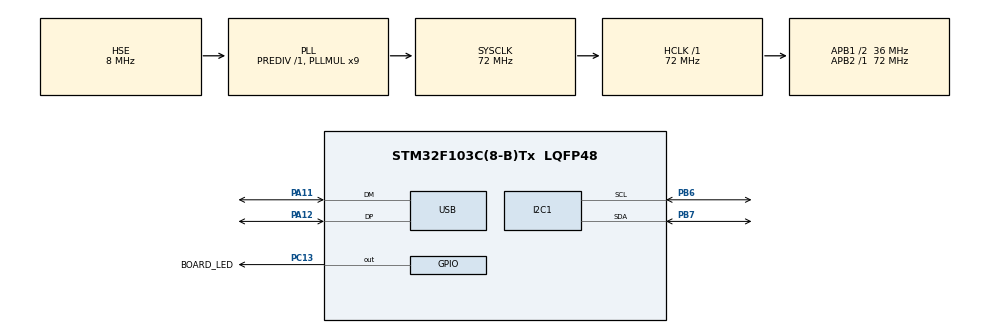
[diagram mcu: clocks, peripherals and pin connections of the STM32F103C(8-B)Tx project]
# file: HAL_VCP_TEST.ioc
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Mcu.Family=STM32F1
Mcu.Name=STM32F103C(8-B)Tx
Mcu.Package=LQFP48
NVIC.PriorityGroup=NVIC_PRIORITYGROUP_4
NVIC.USB_LP_CAN1_RX0_IRQn=true\:0\:0\:false\:false\:true\:false\:true\:true
PA11.Mode=Device
PA11.Signal=USB_DM
PA12.Mode=Device
PA12.Signal=USB_DP
PA13.Mode=Trace_Asynchronous_SW
PA13.Signal=SYS_JTMS-SWDIO
PA14.Mode=Trace_Asynchronous_SW
PA14.Signal=SYS_JTCK-SWCLK
PB3.Mode=Trace_Asynchronous_SW
PB3.Signal=SYS_JTDO-TRACESWO
PB6.Mode=I2C
PB6.Signal=I2C1_SCL
PB7.Mode=I2C
PB7.Signal=I2C1_SDA
PC13-TAMPER-RTC.GPIO_Label=BOARD_LED
PC13-TAMPER-RTC.PinState=GPIO_PIN_SET
PC13-TAMPER-RTC.Signal=GPIO_Output
PD0-OSC_IN.Mode=HSE-External-Oscillator
PD0-OSC_IN.Signal=RCC_OSC_IN
PD1-OSC_OUT.Mode=HSE-External-Oscillator
PD1-OSC_OUT.Signal=RCC_OSC_OUT
ProjectManager.HeapSize=0x100
ProjectManager.StackSize=0x400
ProjectManager.TargetToolchain=STM32CubeIDE
RCC.AHBFreq_Value=72000000
RCC.APB1CLKDivider=RCC_HCLK_DIV2
RCC.APB1Freq_Value=36000000
RCC.APB1TimFreq_Value=72000000
RCC.APB2Freq_Value=72000000
RCC.APB2TimFreq_Value=72000000
RCC.HCLKFreq_Value=72000000
RCC.PLLMUL=RCC_PLL_MUL9
RCC.SYSCLKFreq_VALUE=72000000
RCC.SYSCLKSource=RCC_SYSCLKSOURCE_PLLCLK
RCC.USBFreq_Value=48000000
RCC.USBPrescaler=RCC_USBCLKSOURCE_PLL_DIV1_5
USB_DEVICE.CLASS_NAME_FS=CDC
USB_DEVICE.PRODUCT_STRING_CDC_FS=DataCube Virtual ComPort
USB_DEVICE.VirtualMode=Cdc
USB_DEVICE.VirtualModeFS=Cdc_FS
VP_USB_DEVICE_VS_USB_DEVICE_CDC_FS.Mode=CDC_FS
board=custom

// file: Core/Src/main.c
/* USER CODE BEGIN Header */
/**
 ******************************************************************************
 * @file           : main.c
 * @brief          : Main program body
 ******************************************************************************
 * @attention
 *
 * Copyright (c) 2023 STMicroelectronics.
 * All rights reserved.
 *
 * This software is licensed under terms that can be found in the LICENSE file
 * in the root directory of this software component.
 * If no LICENSE file comes with this software, it is provided AS-IS.
 *
 ******************************************************************************
 */
/* USER CODE END Header */
#include "main.h"
#include "usb_device.h"

/* USER CODE BEGIN Includes */

#include "usb_device.h"
#include "LCD_I2C.h"
/* USER CODE END Includes */

/* USER CODE BEGIN PD */
void UsbReceiveData(uint8_t *Buf, uint16_t Len);
/* USER CODE END PD */

I2C_HandleTypeDef hi2c1;

void SystemClock_Config(void);
static void MX_GPIO_Init(void);
static void MX_I2C1_Init(void);

int main(void)
{

  /* MCU Configuration--------------------------------------------------------*/

  /* Reset of all peripherals, Initializes the Flash interface and the Systick. */
  HAL_Init();

  /* Configure the system clock */
  SystemClock_Config();

  /* Initialize all configured peripherals */
  MX_GPIO_Init();
  MX_USB_DEVICE_Init();
  MX_I2C1_Init();
  /* USER CODE BEGIN 2 */

	RegisterCallback(UsbReceiveData);
	uint8_t msgBuff[] = "USB Initialized\n\r";
	Send_USB_Data(msgBuff, sizeof(msgBuff));

	LCD_I2C = new_LCD_I2C_Struct(0x23, 3, POSITIVE);
	LCD_I2C_begin(LCD_I2C, 20, 4);

	LCD_I2C_clear(LCD_I2C);
	LCD_I2C_printStr(LCD_I2C, "Hello USB");

//	LCD_I2C_Struct *LCD_I2C1 = new_LCD_I2C_Struct(0x27, 3, POSITIVE);
//	LCD_I2C_begin(LCD_I2C1, 16, 2);
//
//	LCD_I2C_clear(LCD_I2C1);
//	LCD_I2C_print(LCD_I2C1, 'X');
  /* USER CODE END 2 */

  /* Infinite loop */
	while (1) {

	}
}

void SystemClock_Config(void)
{
  RCC_OscInitTypeDef RCC_OscInitStruct = {0};
  RCC_ClkInitTypeDef RCC_ClkInitStruct = {0};
  RCC_PeriphCLKInitTypeDef PeriphClkInit = {0};

  /** Initializes the RCC Oscillators according to the specified parameters
  * in the RCC_OscInitTypeDef structure.
  */
  RCC_OscInitStruct.OscillatorType = RCC_OSCILLATORTYPE_HSE;
  RCC_OscInitStruct.HSEState = RCC_HSE_ON;
  RCC_OscInitStruct.HSEPredivValue = RCC_HSE_PREDIV_DIV1;
  RCC_OscInitStruct.HSIState = RCC_HSI_ON;
  RCC_OscInitStruct.PLL.PLLState = RCC_PLL_ON;
  RCC_OscInitStruct.PLL.PLLSource = RCC_PLLSOURCE_HSE;
  RCC_OscInitStruct.PLL.PLLMUL = RCC_PLL_MUL9;
  if (HAL_RCC_OscConfig(&RCC_OscInitStruct) != HAL_OK)
  {
    Error_Handler();
  }

  /** Initializes the CPU, AHB and APB buses clocks
  */
  RCC_ClkInitStruct.ClockType = RCC_CLOCKTYPE_HCLK|RCC_CLOCKTYPE_SYSCLK
                              |RCC_CLOCKTYPE_PCLK1|RCC_CLOCKTYPE_PCLK2;
  RCC_ClkInitStruct.SYSCLKSource = RCC_SYSCLKSOURCE_PLLCLK;
  RCC_ClkInitStruct.AHBCLKDivider = RCC_SYSCLK_DIV1;
  RCC_ClkInitStruct.APB1CLKDivider = RCC_HCLK_DIV2;
  RCC_ClkInitStruct.APB2CLKDivider = RCC_HCLK_DIV1;

  if (HAL_RCC_ClockConfig(&RCC_ClkInitStruct, FLASH_LATENCY_2) != HAL_OK)
  {
    Error_Handler();
  }
  PeriphClkInit.PeriphClockSelection = RCC_PERIPHCLK_USB;
  PeriphClkInit.UsbClockSelection = RCC_USBCLKSOURCE_PLL_DIV1_5;
  if (HAL_RCCEx_PeriphCLKConfig(&PeriphClkInit) != HAL_OK)
  {
    Error_Handler();
  }
}

static void MX_I2C1_Init(void)
{

  hi2c1.Instance = I2C1;
  hi2c1.Init.ClockSpeed = 100000;
  hi2c1.Init.DutyCycle = I2C_DUTYCYCLE_2;
  hi2c1.Init.OwnAddress1 = 0;
  hi2c1.Init.AddressingMode = I2C_ADDRESSINGMODE_7BIT;
  hi2c1.Init.DualAddressMode = I2C_DUALADDRESS_DISABLE;
  hi2c1.Init.OwnAddress2 = 0;
  hi2c1.Init.GeneralCallMode = I2C_GENERALCALL_DISABLE;
  hi2c1.Init.NoStretchMode = I2C_NOSTRETCH_DISABLE;
  if (HAL_I2C_Init(&hi2c1) != HAL_OK)
  {
    Error_Handler();
  }

}

static void MX_GPIO_Init(void)
{
  GPIO_InitTypeDef GPIO_InitStruct = {0};

  /* GPIO Ports Clock Enable */
  __HAL_RCC_GPIOC_CLK_ENABLE();
  __HAL_RCC_GPIOD_CLK_ENABLE();
  __HAL_RCC_GPIOA_CLK_ENABLE();
  __HAL_RCC_GPIOB_CLK_ENABLE();

  /*Configure GPIO pin Output Level */
  HAL_GPIO_WritePin(BOARD_LED_GPIO_Port, BOARD_LED_Pin, GPIO_PIN_SET);

  /*Configure GPIO pin : BOARD_LED_Pin */
  GPIO_InitStruct.Pin = BOARD_LED_Pin;
  GPIO_InitStruct.Mode = GPIO_MODE_OUTPUT_PP;
  GPIO_InitStruct.Pull = GPIO_NOPULL;
  GPIO_InitStruct.Speed = GPIO_SPEED_FREQ_LOW;
  HAL_GPIO_Init(BOARD_LED_GPIO_Port, &GPIO_InitStruct);

}

/* USER CODE BEGIN 4 */
void UsbReceiveData(uint8_t *Buf, uint16_t Len) {
	if (Buf[0] == '1') {
		HAL_GPIO_WritePin(BOARD_LED_GPIO_Port, BOARD_LED_Pin, GPIO_PIN_SET);
	} else if (Buf[0] == '0') {
		HAL_GPIO_WritePin(BOARD_LED_GPIO_Port, BOARD_LED_Pin, GPIO_PIN_RESET);
	}

	Send_USB_Data(Buf, Len);

//	LCD_I2C_Struct * LCD_I2C1 = new_LCD_I2C_Struct(0x23, 3, POSITIVE);
//	LCD_I2C_begin(LCD_I2C1, 20, 4);
//	LCD_print(LCD_I2C, 'X');

	uint16_t count = 0;
	while (count < Len) {
		LCD_print(LCD_I2C, (char)Buf[count]);
		count++;
	}
}
/* USER CODE END 4 */

void Error_Handler(void)
{
	__disable_irq();
	while (1) {
	}
}
